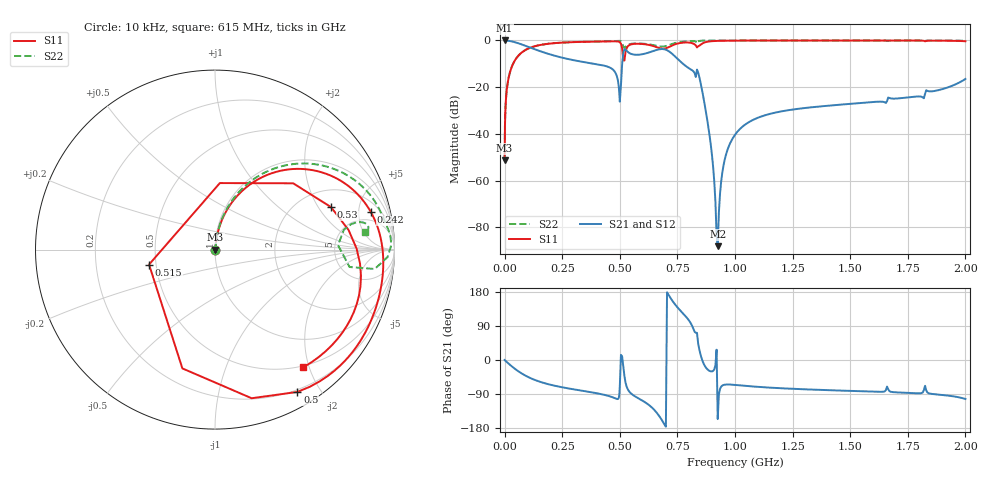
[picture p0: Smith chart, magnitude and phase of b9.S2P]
!Generated from: C:\Users\nkfzm\OneDrive - University of Missouri\Desktop\Research\PowerSI\Board 9 - blinds\b9.spd
! Port1_ic_port_1::pwr
! Port2_decap_port_1::pwr
!Layout Workbench Version: 24.1.0.10141.541387  000
!Computer Host Name: RS29JQCX3
!TouchstoneFormatFlag = 1
! GNDNET gnd
! NETSLIST
#	Hz	Z	RI	R	1
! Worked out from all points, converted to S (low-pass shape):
!   585 points, 10 kHz to 2 GHz, reference 1 ohm
!   highest |S21| = -0.02 dB at 10 kHz (marker M1); lowest = -88.0 dB at 925 MHz (marker M2)
!   |S21| within 3 dB of the highest: start of sweep to 110.1 MHz
!   lowest |S11| = -51.3 dB at 10 kHz (marker M3), VSWR 1.01, Z = 1.01 + j0.000203 ohm
!   |S11| at or under -10 dB: start of sweep to 36.76 MHz
!   |S22| runs from -51.3 to 0.0 dB; largest |S21 - S12| = 1.5e-11
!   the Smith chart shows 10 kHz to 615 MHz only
!   S11 on the Smith chart (normalised r, x): 10 kHz: 1.01, +0.00; 242 MHz: 3.34, +6.89; 500 MHz: 0.17, -1.72; 515 MHz: 0.46, -0.09; 530 MHz: 2.91, +2.61; 615 MHz: 0.48, -1.91
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10000  -0.6599 -2.025e+05  -0.661 -2.025e+05  -0.661 -2.025e+05  -0.6566 -2.025e+05
2500000  0.00163 -810  0.000243 -810  0.000243 -810  0.00578 -810
7500000  0.00215 -270  0.000222 -270  0.000222 -270  0.00795 -269.9
3.6e7  0.00499 -56.08  0.000584 -56.22  0.000584 -56.22  0.0182 -55.68
2.42e8  0.0133 -7.245  0.00154 -8.154  0.00154 -8.154  0.0506 -4.457
3.34e8  0.0161 -4.497  0.00172 -5.771  0.00172 -5.771  0.0673 -0.429
5e8  0.0217 -1.614  0.00122 -3.639  0.00122 -3.639  56.92 41.07
5.15e8  0.0223 -1.409  0.00105 -3.514  0.00105 -3.514  1.784 -8.435
5.3e8  0.023 -1.209  0.000824 -3.397  0.000824 -3.397  0.4522 -1.924
6.15e8  0.0288 -0.1176  -0.0021 -2.881  -0.0021 -2.881  0.0984 4.363
6.7e8  0.0372 0.6303  -0.00851 -2.713  -0.00851 -2.713  0.0975 6.17
7.4e8  0.0904 2.084  -0.059 -3.09  -0.059 -3.09  0.1514 8.687
8.05e8  3.024 -8.558  -2.99 8.495  -2.99 8.495  3.118 -0.87
8.3e8  0.2041 -1.085  -0.1685 1.375  -0.1685 1.375  2.369 8.559
8.45e8  0.1093 -0.1657  -0.0729 0.6666  -0.0729 0.6666  0.3085 6.895
8.75e8  0.0582 0.7649  -0.0202 0.1559  -0.0202 0.1559  0.13 8.713
9.25e8  0.0406 1.621  0.000384 -0.000101  0.000384 -0.000101  0.1051 10.29
9.55e8  0.0381 2.01  0.00498 0.0344  0.00498 0.0344  0.1028 11.06
1.005e9  0.0374 2.586  0.00951 0.177  0.00951 0.177  0.1038 12.25
1.335e9  0.0693 6.635  0.0418 2.456  0.0418 2.456  0.1546 20.44
1.67e9  1.316 28.26  1.278 22.36  1.278 22.36  2.602 44.36
2e9  0.1895 -1.172  0.1097 -9.766  0.1097 -9.766  0.4825 25.25
